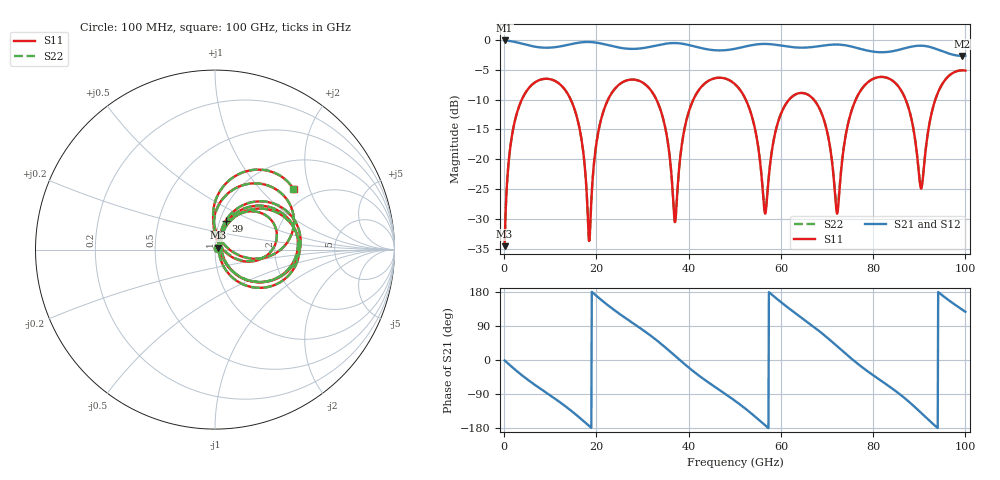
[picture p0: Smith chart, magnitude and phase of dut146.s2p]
! Touchstone file exported from HFSS 2026.1.0
!  File:  C:/ffzhzh/LocalFiles/Ansys_Project_Files/temp_train_TSV_RDL_146_1783463296_41684.aedt
!  Generated:  06:38:43 AM Jul  8, 2026
!  Design:  TSV_RDL
!  Project:  temp_train_TSV_RDL_146_1783463296_41684
! Variables:
!  h_bsmrdl = 3.33um
!  h_ox = 20um
!  h_rdl = 5um
!  h_sub = 70.29um
!  h_tmrdl = 4.77um
!  h_tsv = 70.29um
!  h_via = 3um
!  l_bsmrdl = 682.05um
!  l_sub = 3170.9um
!  l_tmrdl = 156.37um
!  m_sub = 200um
!  pitch = 41.55um
!  r_tsv = 8.05um
!  s_tmrdl = 10um
!  w_bsmrdl = 21.98um
!  w_sub = 500um
!  w_tmrdl = 11.11um
!  x_tsv_center1 = 161.925um
!  x_tsv_center2 = 865.955um
!  x_tsv_center3 = 1033.435um
!  x_tsv_center4 = 1737.465um
!  x_tsv_center5 = 1904.945um
!  x_tsv_center6 = 2608.975um
# GHz S MA R 50.000000
! Terminal data exported
! Port[1] = TM_RDL1_1_T1
! Port[2] = TM_RDL5_1_T1
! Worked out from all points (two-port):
!   1000 points, 100 MHz to 100 GHz, reference 50 ohm
!   highest |S21| = -0.14 dB at 100 MHz (marker M1); lowest = -2.7 dB at 99.3 GHz (marker M2)
!   |S21| within 3 dB of the highest: start of sweep to end of sweep
!   lowest |S11| = -34.5 dB at 100 MHz (marker M3), VSWR 1.04, Z = 51.6 + j1.05 ohm
!   |S11| at or under -10 dB: 14.43 GHz to 22.53 GHz (8.106 GHz wide, 43.9 % of centre); 52.37 GHz to 61.8 GHz (9.425 GHz wide, 16.5 % of centre); 67.11 GHz to 76.24 GHz (9.13 GHz wide, 12.7 % of centre)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
!   |S22| runs from -34.5 to -5.1 dB; largest |S21 - S12| = 5.3e-14
!   S11 on the Smith chart (normalised r, x): 100 MHz: 1.03, +0.02; 39 GHz: 1.07, +0.35; 100 GHz: 1.63, +1.57
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0.1  0.01886 32.7  0.9843 -1.2  0.9843 -1.2  0.01886 32.7
! Gamma 0 0 0 0
! Port Impedance 50 0 50 0
1.9  0.1752 62.6  0.9638 -20.5  0.9638 -20.5  0.1752 62.6
5.5  0.4006 31.3  0.8918 -55.5  0.8918 -55.5  0.4006 31.3
11.8  0.433 -19.9  0.8732 -108.8  0.8732 -108.8  0.433 -19.9
16.8  0.1444 -61.1  0.9497 -156.8  0.9497 -156.8  0.1443 -61.3
18.5  0.02105 17.0  0.9556 -174.8  0.9556 -174.8  0.02042 17.6
20.3  0.1606 67.5  0.9395 166.3  0.9395 166.3  0.1605 67.8
23.1  0.3471 44.8  0.8885 138.8  0.8885 138.8  0.3471 45.0
33.4  0.2922 -38.2  0.9008 48.8  0.9008 48.8  0.2922 -38.0
37  0.02992 2.4  0.9361 11.5  0.9361 11.5  0.02978 2.8
39  0.1717 69.6  0.9194 -9.6  0.9194 -9.6  0.1718 69.9
50.1  0.4226 -16.7  0.8396 -108.0  0.8396 -108.0  0.4228 -16.4
56.6  0.03518 8.5  0.9209 -172.4  0.9209 -172.4  0.03656 8.4
60.2  0.2501 54.0  0.8899 150.9  0.8899 150.9  0.2501 54.1
66.7  0.3286 2.3  0.8662 91.5  0.8662 91.5  0.3286 2.8
72.2  0.03515 35.2  0.91 36.2  0.91 36.2  0.03824 35.5
76  0.3009 79.7  0.8621 -3.6  0.8621 -3.6  0.3013 79.3
83.4  0.4735 22.0  0.7917 -68.9  0.7917 -68.9  0.4735 22.0
90.4  0.05694 38.9  0.8904 -139.6  0.8904 -139.6  0.05825 39.2
93.8  0.3418 83.8  0.8323 -177.5  0.8323 -177.5  0.3422 83.8
99.3  0.5544 42.1  0.7317 133.0  0.7317 133.0  0.5547 42.4
100  0.5516 37.4  0.7338 127.2  0.7338 127.2  0.5519 37.7
